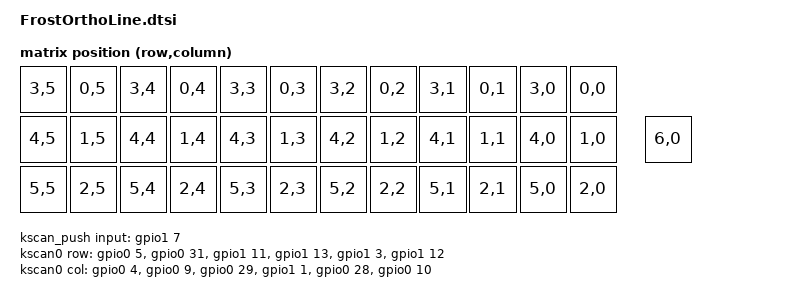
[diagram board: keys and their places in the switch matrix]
// FrostOrthoLine 共通定義（キーマトリクス・FPC1 の I2C バスとプッシュスイッチ・FPC2 の PAT9125 マウス）
// FPC1 のダイヤル（hires-dial）本体の定義は FrostOrthoLine.overlay

#include <dt-bindings/zmk/matrix_transform.h>
#include <physical_layouts.dtsi>
// 注意: ポインティング系のヘッダ（keys.h を含む）はマトリクス定義より後で include すること。
// keys.h が修飾キー用の RC(keycode) を定義するため、先に読むと RC(行,列) がエラーになる。

// ========================================
// ピン割り当て（XIAO nRF52840 Plus）
// ========================================
//  ROW0 = D5  (P0.05)    COL0 = D4  (P0.04)
//  ROW1 = D16 (P0.31)    COL1 = D14 (P0.09 / NFC1)
//  ROW2 = D6  (P1.11)    COL2 = D3  (P0.29)
//  ROW3 = D8  (P1.13)    COL3 = D13 (P1.01)
//  ROW4 = D17 (P1.03)    COL4 = D2  (P0.28)
//  ROW5 = D7  (P1.12)    COL5 = D15 (P0.10 / NFC2)
//
//  ダイヤルモジュール PAT9125 + プッシュスイッチ (FPC1, I2C)
//   基板ピン名       接続先        モジュール側
//   SDA/SCLK 1   = D18 (P1.05) = SDA
//   SCL/SDIO 1   = D9  (P1.14) = SCL
//   GND/MOTION 1 = D19 (P1.07) = PUSH（押し込みで L）
//   RDY/CS 1     = D10 (P1.15) = MOTION
//  ※ 基板ピン名とダイヤルモジュールのピンは役割が一致しないので注意
//
//  PAT9125 マウス (FPC2, I2C)  ※ダイヤルモジュールと同じピン配置のモジュールを想定
//   基板ピン名       接続先        モジュール側
//   SDA/SCLK 2   = D0  (P0.02) = SDA
//   SCL/SDIO 2   = D11 (P0.15) = SCL
//   GND/MOTION 2 = D1  (P0.03) = PUSH（未使用）
//   RDY/CS 2     = D12 (P0.19) = MOTION
//
//  ダイヤルとマウスの PAT9125 はどちらも I2C アドレス 0x75 なので、
//  FPC1 は i2c1、FPC2 は i2c0 と別のバスにしている

/ {
    chosen {
        zmk,kscan = &kscan_composite;
        zmk,physical-layout = &physical_layout0;
    };

    physical_layout0: physical_layout_0 {
        compatible = "zmk,physical-layout";
        display-name = "default_layout";

        kscan = <&kscan_composite>;
        transform = <&default_transform>;

        keys  //                     w   h    x    y     rot    rx    ry
            = <&key_physical_attrs 100 100    0    0       0     0     0>
            , <&key_physical_attrs 100 100  100    0       0     0     0>
            , <&key_physical_attrs 100 100  200    0       0     0     0>
            , <&key_physical_attrs 100 100  300    0       0     0     0>
            , <&key_physical_attrs 100 100  400    0       0     0     0>
            , <&key_physical_attrs 100 100  500    0       0     0     0>
            , <&key_physical_attrs 100 100  600    0       0     0     0>
            , <&key_physical_attrs 100 100  700    0       0     0     0>
            , <&key_physical_attrs 100 100  800    0       0     0     0>
            , <&key_physical_attrs 100 100  900    0       0     0     0>
            , <&key_physical_attrs 100 100 1000    0       0     0     0>
            , <&key_physical_attrs 100 100 1100    0       0     0     0>
            , <&key_physical_attrs 100 100    0  100       0     0     0>
            , <&key_physical_attrs 100 100  100  100       0     0     0>
            , <&key_physical_attrs 100 100  200  100       0     0     0>
            , <&key_physical_attrs 100 100  300  100       0     0     0>
            , <&key_physical_attrs 100 100  400  100       0     0     0>
            , <&key_physical_attrs 100 100  500  100       0     0     0>
            , <&key_physical_attrs 100 100  600  100       0     0     0>
            , <&key_physical_attrs 100 100  700  100       0     0     0>
            , <&key_physical_attrs 100 100  800  100       0     0     0>
            , <&key_physical_attrs 100 100  900  100       0     0     0>
            , <&key_physical_attrs 100 100 1000  100       0     0     0>
            , <&key_physical_attrs 100 100 1100  100       0     0     0>
            , <&key_physical_attrs 100 100    0  200       0     0     0>
            , <&key_physical_attrs 100 100  100  200       0     0     0>
            , <&key_physical_attrs 100 100  200  200       0     0     0>
            , <&key_physical_attrs 100 100  300  200       0     0     0>
            , <&key_physical_attrs 100 100  400  200       0     0     0>
            , <&key_physical_attrs 100 100  500  200       0     0     0>
            , <&key_physical_attrs 100 100  600  200       0     0     0>
            , <&key_physical_attrs 100 100  700  200       0     0     0>
            , <&key_physical_attrs 100 100  800  200       0     0     0>
            , <&key_physical_attrs 100 100  900  200       0     0     0>
            , <&key_physical_attrs 100 100 1000  200       0     0     0>
            , <&key_physical_attrs 100 100 1100  200       0     0     0>
            , <&key_physical_attrs 100 100 1250  100       0     0     0>  // ダイヤルのプッシュスイッチ
            ;
    };

    // 電気的マトリクス 6行 x 6列 = 36キー → 物理配置 12列 x 3行
    // 1本の COL が物理2列分を担当する（RC(行,列) = RC(ROW,COL)）
    // キーボードを上から見て左から（COL5 が左端、COL0 が右端）:
    //   上段: COL5/ROW3, COL5/ROW0, COL4/ROW3, COL4/ROW0, ... COL0/ROW3, COL0/ROW0
    //   中段: COL5/ROW4, COL5/ROW1, COL4/ROW4, COL4/ROW1, ... COL0/ROW4, COL0/ROW1
    //   下段: COL5/ROW5, COL5/ROW2, COL4/ROW5, COL4/ROW2, ... COL0/ROW5, COL0/ROW2
    // 最後の RC(6,0) はダイヤルのプッシュスイッチ（kscan_push）
    default_transform: keymap_transform_0 {
        compatible = "zmk,matrix-transform";
        columns = <6>;
        rows = <7>;
        map = <
            RC(3,5) RC(0,5) RC(3,4) RC(0,4) RC(3,3) RC(0,3)   RC(3,2) RC(0,2) RC(3,1) RC(0,1) RC(3,0) RC(0,0)
            RC(4,5) RC(1,5) RC(4,4) RC(1,4) RC(4,3) RC(1,3)   RC(4,2) RC(1,2) RC(4,1) RC(1,1) RC(4,0) RC(1,0)
            RC(5,5) RC(2,5) RC(5,4) RC(2,4) RC(5,3) RC(2,3)   RC(5,2) RC(2,2) RC(5,1) RC(2,1) RC(5,0) RC(2,0)
            RC(6,0)
        >;
    };

    // キーマトリクスとプッシュスイッチをまとめて1つの kscan として扱う
    kscan_composite: kscan_composite {
        compatible = "zmk,kscan-composite";
        wakeup-source;
        rows = <7>;
        columns = <6>;

        matrix {
            kscan = <&kscan0>;
        };

        push {
            kscan = <&kscan_push>;
            row-offset = <6>;
        };
    };

    // ダイヤルのプッシュスイッチ（押し込むと L になるのでプルアップして Active Low で読む）
    kscan_push: kscan_push {
        compatible = "zmk,kscan-gpio-direct";
        wakeup-source;
        input-gpios = <&gpio1 7 (GPIO_ACTIVE_LOW | GPIO_PULL_UP)>;  /* D19 (FPC1) */
    };

    kscan0: kscan {
        compatible = "zmk,kscan-gpio-matrix";
        wakeup-source;
        diode-direction = "col2row";

        row-gpios
            = <&gpio0  5 (GPIO_ACTIVE_HIGH | GPIO_PULL_DOWN)>  /* ROW0 D5  */
            , <&gpio0 31 (GPIO_ACTIVE_HIGH | GPIO_PULL_DOWN)>  /* ROW1 D16 */
            , <&gpio1 11 (GPIO_ACTIVE_HIGH | GPIO_PULL_DOWN)>  /* ROW2 D6  */
            , <&gpio1 13 (GPIO_ACTIVE_HIGH | GPIO_PULL_DOWN)>  /* ROW3 D8  */
            , <&gpio1  3 (GPIO_ACTIVE_HIGH | GPIO_PULL_DOWN)>  /* ROW4 D17 */
            , <&gpio1 12 (GPIO_ACTIVE_HIGH | GPIO_PULL_DOWN)>  /* ROW5 D7  */
            ;

        col-gpios
            = <&gpio0  4 GPIO_ACTIVE_HIGH>  /* COL0 D4  */
            , <&gpio0  9 GPIO_ACTIVE_HIGH>  /* COL1 D14 */
            , <&gpio0 29 GPIO_ACTIVE_HIGH>  /* COL2 D3  */
            , <&gpio1  1 GPIO_ACTIVE_HIGH>  /* COL3 D13 */
            , <&gpio0 28 GPIO_ACTIVE_HIGH>  /* COL4 D2  */
            , <&gpio0 10 GPIO_ACTIVE_HIGH>  /* COL5 D15 */
            ;
    };
};

#include <input/processors.dtsi>
#include <dt-bindings/zmk/input_transform.h>
#include <zephyr/dt-bindings/input/input-event-codes.h>
#include <input/processors/runtime-input-processor.dtsi>
#include <dt-bindings/zmk/runtime_input_processor.h>
#include <zephyr/dt-bindings/dt-util.h>
#include <zephyr/dt-bindings/i2c/i2c.h>
#include <mouse-gesture.dtsi>

// COL1(P0.09) / COL5(P0.10) は NFC ピンなので GPIO として使う設定
// （Zephyr 4.x では Kconfig の CONFIG_NFCT_PINS_AS_GPIOS ではなくこちら）
&uicr {
    nfct-pins-as-gpios;
};

// ========================================
// ポインティング設定（FPC2 の PAT9125 マウス、DYA Studio から変更可能）
// ここの値は初期値。DYA Studio で保存した設定があればそちらが優先される
// 移動方向が逆なら x-invert / y-invert を追加する（DYA Studio でも変更可）
// ========================================

// カーソル移動 + AML
&mouse_runtime_input_processor {
    scale-multiplier = <2>; // カーソル移動量2/3倍
    scale-divisor = <3>;

    // AML（自動マウスレイヤー）
    temp-layer-enabled;
    temp-layer = <6>;
    temp-layer-activation-delay-ms = <400>; // キー入力後400ms以内はAMLに切り替わらない
    temp-layer-deactivation-delay-ms = <65535>; // タイムアウト時間（最大65535ms）
};

// 縦スクロール（レイヤー5押下中）
&scroll_runtime_input_processor {
    x-codes = <INPUT_REL_X>;
    y-codes = <INPUT_REL_Y>;
    xy-to-scroll-enabled;
    active-layers = <BIT(5)>;
    scale-multiplier = <2>;
    scale-divisor = <3>;
    axis-snap-mode = <AXIS_SNAP_MODE_Y>;
    axis-snap-threshold = <65535>;
};

/ {
    // 横スクロール（レイヤー7押下中）
    hscroll_runtime_input_processor: hscroll_runtime_input_processor {
        compatible = "zmk,input-processor-runtime";
        processor-label = "hscroll";
        type = <INPUT_EV_REL>;
        x-codes = <INPUT_REL_X>;
        y-codes = <INPUT_REL_Y>;
        xy-to-scroll-enabled;
        active-layers = <BIT(7)>;
        scale-multiplier = <2>;
        scale-divisor = <3>;
        rotation-degrees = <0>;
        track-remainders;
        axis-snap-mode = <AXIS_SNAP_MODE_X>;
        axis-snap-threshold = <65535>;

        temp-layer-transparent-behavior = <&trans>;
        temp-layer-kp-behavior = <&kp>;
        temp-layer-keep-keycodes = <LEFT_CONTROL LEFT_SHIFT LEFT_ALT LEFT_GUI RIGHT_CONTROL RIGHT_SHIFT RIGHT_ALT RIGHT_GUI>;

        #input-processor-cells = <0>;
    };

    pat9125_mouse_listener: pat9125_mouse_listener {
        compatible = "zmk,input-listener";
        status = "okay";
        device = <&pat9125_mouse>;

        input-processors = <
            &mouse_runtime_input_processor
            &zip_mouse_gesture // マウスジェスチャー（方向調整後に置くこと）
            &scroll_runtime_input_processor
            &hscroll_runtime_input_processor
        >;
    };
};

// ========================================
// ペリフェラル割り当て
//   i2c0: FPC2 の PAT9125 マウス
//   i2c1: FPC1 のダイヤル
// ========================================

// 基板標準の spi2 (xiao_spi) は D8〜D10 (P1.13〜P1.15) を使うため、
// ROW3 / ダイヤルの SCL / ダイヤルの MOTION と衝突しないよう無効化する
&spi2 {
    status = "disabled";
};

// spi0 と i2c0、spi1 と i2c1 はそれぞれ同じペリフェラルを共有する
&spi0 {
    status = "disabled";
};

&spi1 {
    status = "disabled";
};

&pinctrl {
    // FPC2 の PAT9125 マウス
    i2c0_default: i2c0_default {
        group1 {
            psels = <NRF_PSEL(TWIM_SDA, 0, 2)>,
                <NRF_PSEL(TWIM_SCL, 0, 15)>;
            bias-pull-up;
        };
    };

    i2c0_sleep: i2c0_sleep {
        group1 {
            psels = <NRF_PSEL(TWIM_SDA, 0, 2)>,
                <NRF_PSEL(TWIM_SCL, 0, 15)>;
            bias-pull-up;
            low-power-enable;
        };
    };

    // 基板標準の i2c1 は D4/D5 (P0.04/P0.05) を使うので FPC1 のピンに付け替える
    i2c1_default: i2c1_default {
        group1 {
            psels = <NRF_PSEL(TWIM_SDA, 1, 5)>,
                <NRF_PSEL(TWIM_SCL, 1, 14)>;
            bias-pull-up;
        };
    };

    i2c1_sleep: i2c1_sleep {
        group1 {
            psels = <NRF_PSEL(TWIM_SDA, 1, 5)>,
                <NRF_PSEL(TWIM_SCL, 1, 14)>;
            bias-pull-up;
            low-power-enable;
        };
    };
};

// FPC2: PAT9125 マウス（src/pat9125_input.c のドライバで X/Y をカーソル入力として出す）
&i2c0 {
    status = "okay";
    compatible = "nordic,nrf-twim";
    pinctrl-0 = <&i2c0_default>;
    pinctrl-1 = <&i2c0_sleep>;
    pinctrl-names = "default", "sleep";
    clock-frequency = <I2C_BITRATE_FAST>;

    pat9125_mouse: pat9125_mouse@75 {
        status = "okay";
        compatible = "pixart,pat9125-zmk";
        reg = <0x75>;
        motion-gpios = <&gpio0 19 (GPIO_ACTIVE_LOW | GPIO_PULL_UP)>; // D12（基板ピン名 RDY/CS 2）
        res-x-cpi = <1275>; // 0〜1275（5刻み）
        res-y-cpi = <1275>;
        motion-read-interval-ms = <8>; // MOTION が出ている間の読み取り間隔
        // swap-xy;  // X と Y を入れ替える場合
        // invert-x; // 向きが逆なら有効化（DYA Studio の mouse プロセッサでも変更可）
        // invert-y;
        sleep1-enable;
        sleep2-enable;
    };
};

// FPC1: ダイヤルの I2C バス（ダイヤル本体の定義は FrostOrthoLine.overlay）
&i2c1 {
    status = "okay";
    compatible = "nordic,nrf-twim";
    pinctrl-0 = <&i2c1_default>;
    pinctrl-1 = <&i2c1_sleep>;
    pinctrl-names = "default", "sleep";
    clock-frequency = <I2C_BITRATE_FAST>;
};
